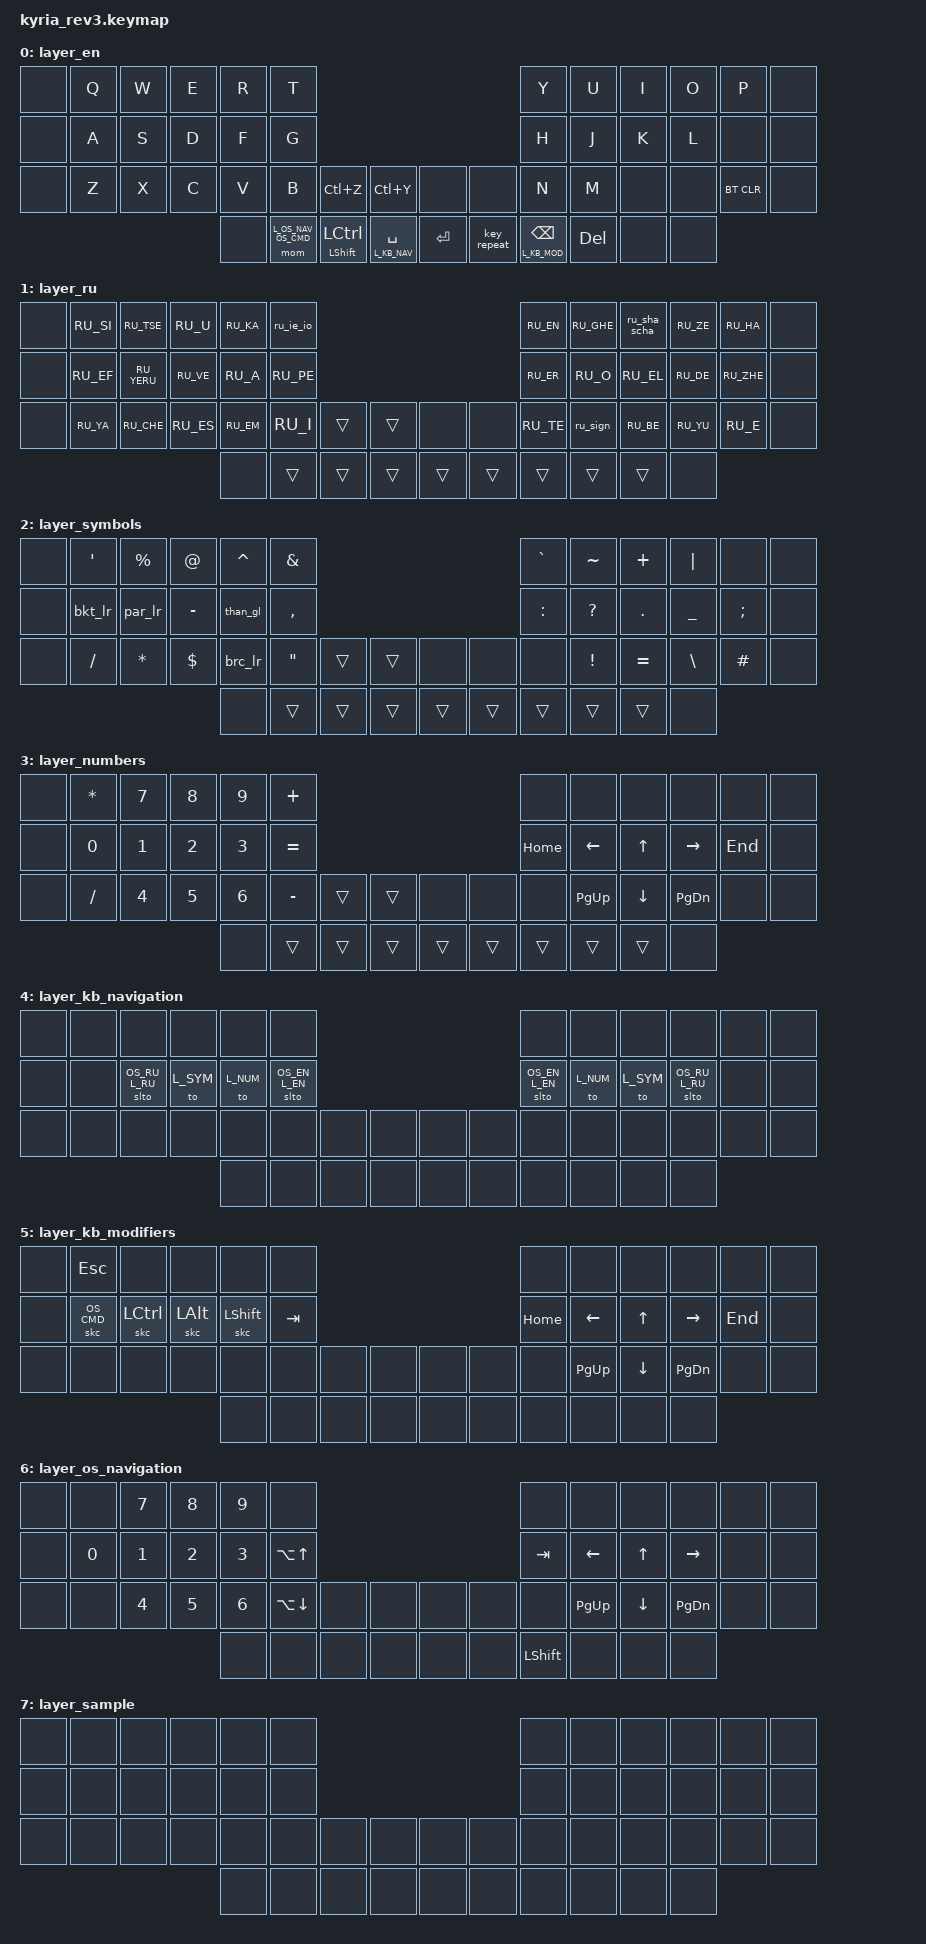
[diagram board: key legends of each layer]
#include <behaviors.dtsi>
#include <dt-bindings/zmk/keys.h>
#include <dt-bindings/zmk/bt.h>
#include "keys_ru.h"

// KB
#define ___ &trans
#define XXX &none

// OS Hotkeys

// KbGUI (Windows / Command / Meta)
#define OS_CMD LGUI
#define OS_MOD(keycode) LG(keycode)

#define OS_EN OS_MOD(LA(N1))
#define OS_RU OS_MOD(LA(N2))
#define OS_NEXT_LANG OS_MOD(SPACE)

#define OS_KB_EN &kp OS_EN
#define OS_KB_RU &kp OS_RU

// Layer Alias
#define L_EN 0
#define L_RU 1
#define L_SYM 2
#define L_NUM 3
#define L_KB_NAV 4
#define L_KB_MOD 5
#define L_OS_NAV 6

// Macros

#define CHARS_EN &slto OS_EN L_EN
#define CHARS_RU &slto OS_RU L_RU
#define SYMBOLS &to L_SYM
#define NUMBERS &to L_NUM

#define SPACE_KB_NAV &hmot L_KB_NAV SPACE
#define BSPC_KB_MOD &hmot L_KB_MOD BACKSPACE

#define OS_NAV_CMD &mom L_OS_NAV OS_CMD

#define CHAIN_CTRL &skc LCTRL
#define CHAIN_SHIFT &skc LSHIFT
#define CHAIN_ALT &skc LALT
#define CHAIN_CMD &skc OS_CMD

#define CTRL_OR_SHIFT &hst LSHIFT LCTRL

#define KB_UNDO LC(Z)
#define KB_REDO LC(Y)

#define COMBO_GLOBAL(NAME, BINDINGS, KEYPOS) \
  combo_##NAME { \
    timeout-ms = <64>; \
    bindings = <BINDINGS>; \
    key-positions = <KEYPOS>; \
};

#define COMBO(NAME, BINDINGS, KEYPOS, LAYERS) \
  combo_##NAME { \
    timeout-ms = <64>; \
    bindings = <BINDINGS>; \
    key-positions = <KEYPOS>; \
    layers = <LAYERS>; \
};

/ {
    behaviors {
        /**
        * A sticky key stays pressed until another key is pressed.
        */
        skc: sticky_key_chain {
            compatible = "zmk,behavior-sticky-key";
            #binding-cells = <1>;
            bindings = <&kp>;
            release-after-ms = <1500>;
            ignore-modifiers;
        };

        /**
        * A sticky key stays pressed until another key is pressed.
        * No the ability to chain modifiers (reason: quick-release)
        */
        skq: sticky_key_quick_release {
            compatible = "zmk,behavior-sticky-key";
            #binding-cells = <1>;
            bindings = <&kp>;
            release-after-ms = <1500>;
            quick-release;
            ignore-modifiers;
        };

		/**
        * tap: triggers `sticky_key_quick_release`
        * hold: triggers a <&kp> behavior
        * Example:
        *   `CTRL_OR_SHIFT`
        */
        hst: hold_sticky_tap_quick_release {
            compatible = "zmk,behavior-hold-tap";
            #binding-cells = <2>;
            tapping-term-ms = <300>;
            quick-tap-ms = <0>;
            flavor = "tap-preferred";
            bindings = <&kp>, <&skq>;
        };

		/**
        * tap: triggers a <&kp> behavior
        * hold: triggers momentary layer behavior
        */
        hmot: hold_momentary_layer_tap {
            compatible = "zmk,behavior-hold-tap";
            #binding-cells = <2>;
            tapping-term-ms = <250>;
            quick-tap-ms = <0>;
            flavor = "tap-preferred";
            bindings = <&mo>, <&kp>;
        };

        /**
        * tap:        ь
        * double-tap: ъ
        */
        ru_sign: ru_sign_double_tap {
            compatible = "zmk,behavior-tap-dance";
            label = "RU_SOFT_OR_HARD_SIGN";
            #binding-cells = <0>;
            tapping-term-ms = <100>; // duration.short2
            bindings = <&kp RU_SSIGN>, <&kp RU_HSIGN>;
        };

        /**
        * tap:        е
        * double-tap: ё
        */
        ru_ie_io: ru_ie_double_tap {
            compatible = "zmk,behavior-tap-dance";
            label = "RU_IE_OR_IO";
            #binding-cells = <0>;
            tapping-term-ms = <100>; // duration.short2
            bindings = <&kp RU_IE>, <&kp RU_IO>;
        };

        /**
        * tap:        ш
        * double-tap: щ
        */
        ru_sha_scha: ru_sha_double_tap {
            compatible = "zmk,behavior-tap-dance";
            label = "RU_SHA_OR_SHCHA";
            #binding-cells = <0>;
            tapping-term-ms = <100>; // duration.short2
            bindings = <&kp RU_SHA>, <&kp RU_SHCHA>;
        };

        /**
        * tap:        (
        * double-tap: )
        */
        par_lr: parenthesis_left_right {
            compatible = "zmk,behavior-tap-dance";
            label = "parenthesis_left_right";
            #binding-cells = <0>;
            tapping-term-ms = <100>; // duration.short2
            bindings = <&kp LPAR>, <&kp RPAR>;
        };

       /**
        * tap:        [
        * double-tap: ]
        */
        bkt_lr: bracket_left_right {
            compatible = "zmk,behavior-tap-dance";
            label = "bracket_left_right";
            #binding-cells = <0>;
            tapping-term-ms = <100>; // duration.short2
            bindings = <&kp LBKT>, <&kp RBKT>;
        };

       /**
        * tap:        {
        * double-tap: }
        */
        brc_lr: brace_left_right {
            compatible = "zmk,behavior-tap-dance";
            label = "brace_left_right";
            #binding-cells = <0>;
            tapping-term-ms = <100>; // duration.short2
            bindings = <&kp LBRC>, <&kp RBRC>;
        };

       /**
        * tap:        >
        * double-tap: <
        */
        than_gl: greater_or_less_than {
            compatible = "zmk,behavior-tap-dance";
            label = "brace_left_right";
            #binding-cells = <0>;
            tapping-term-ms = <100>; // duration.short2
            bindings = <&kp GT>, <&kp LT>;
        };
    };

    macros {
        /**
        * Params:
        *  1. OS Language alias
        *  2. KB Layer alias
        *
        * Example:
        *  &slto OS_EN L_EN
        */
        slto: select_lang_and_go_to_layer {
            label = "SYNC_LANG_AND_LAYER";
            compatible = "zmk,behavior-macro-two-param";
            wait-ms = <32>;
            tap-ms = <32>;
            #binding-cells = <2>;
            bindings
                = 
                <&macro_param_1to1>,
                <&macro_tap &kp MACRO_PLACEHOLDER>,
                <&macro_wait_time 32>,
                <&macro_param_2to1>,
                <&macro_tap &to MACRO_PLACEHOLDER>
                ;
        };

		/**
		 * Temporarily switches to a layer (&mo) while a modifier is held
		 *
		 * Params:
		 *  1. Layer to switch to
		 *  2. Modifier to press while layer is active
		 *
		 * Example:
		 *  &mom NUM_LAYER LSHIFT
		 */
        mom: momentary_layer_with_modifier {
            compatible = "zmk,behavior-macro-two-param";
            wait-ms = <0>;
            tap-ms = <0>;
            #binding-cells = <2>;
            bindings
                = <&macro_param_1to1>
                , <&macro_press &mo MACRO_PLACEHOLDER>
                , <&macro_param_2to1>
                , <&macro_press &kp MACRO_PLACEHOLDER>
                , <&macro_pause_for_release>
                , <&macro_param_2to1>
                , <&macro_release &kp MACRO_PLACEHOLDER>
                , <&macro_param_1to1>
                , <&macro_release &mo MACRO_PLACEHOLDER>
                ;
        };
    };

    /*                            KEY POSITIONS
    ╭────────────────────────╮                 ╭────────────────────────╮
    │  0   1   2   3   4   5 │                 │  6   7   8   9  10  11 │
    │ 12  13  14  15  16  17 ╰───────╮ ╭───────╯ 18  19  20  21  22  23 │
    │ 24  25  26  27  28  29  30  31 │ │ 32  33  34  35  36  37  38  39 │
    ╰───────────╮ 40  41  42  43  44 │ │ 45  46  47  48  49 ╭───────────╯
                ╰────────────────────╯ ╰────────────────────╯            */

    combos {
        compatible = "zmk,combos";

        COMBO(excl, &kp EXCL, 19 20, L_EN L_RU)

        COMBO(qmark_en, &kp QMARK, 15 16, L_EN)
        COMBO(qmark_ru, &kp AMPS, 15 16, L_RU)

        COMBO(colon_en, &kp COLON, 16 17, L_EN)
        COMBO(colon_ru, &kp CARET, 16 17, L_RU)

        COMBO(semicolon_en, &kp SEMI, 18 19, L_EN)
        COMBO(semicolon_ru, &kp DOLLAR, 18 19, L_RU)

        COMBO(dot_en, &kp DOT, 16 19, L_EN)
        COMBO(dot_ru, &kp FSLH, 16 19, L_RU)

        COMBO(comma_en, &kp COMMA, 15 20, L_EN)
        COMBO(comma_ru, &kp QMARK, 15 20, L_RU)

        COMBO(double_quotes_en, &kp DQT, 17 18, L_EN)
        COMBO(double_quotes_ru, &kp AT_SIGN, 17 18, L_RU)
    };

    keymap {
        compatible = "zmk,keymap";

        layer_en {
            bindings = <
                // ╭───┬─────────────┬─────────────┬─────────────┬─────────────┬─────────────╮                                                           ╭─────────────┬─────────────┬─────────────┬─────────────┬─────────────┬───╮
                    XXX &kp Q         &kp W         &kp E         &kp R         &kp T                                                                     &kp Y         &kp U         &kp I         &kp O         &kp P         XXX  
                // ├───┼─────────────┼─────────────┼─────────────┼─────────────┼─────────────┤                                                           ├─────────────┼─────────────┼─────────────┼─────────────┼─────────────┼───┤
                    XXX &kp A         &kp S         &kp D         &kp F         &kp G                                                                     &kp H         &kp J         &kp K         &kp L         XXX           XXX  
                // ├───┼─────────────┼─────────────┼─────────────┼─────────────┼─────────────┤─────────────┬─────────────╮   ╭─────────────┬─────────────├─────────────┼─────────────┼─────────────┼─────────────┼─────────────┼───┤
                    XXX &kp Z         &kp X         &kp C         &kp V         &kp B         &kp KB_UNDO   &kp KB_REDO       XXX           XXX           &kp N         &kp M         XXX           XXX           &bt BT_CLR    XXX  
                // ╰───┴─────────────┴─────────────┴─────────────┼─────────────┼─────────────┤─────────────┼─────────────┤   ├─────────────┼─────────────├─────────────┼─────────────┼─────────────┴─────────────┴─────────────┴───╯
                                                              XXX OS_NAV_CMD    CTRL_OR_SHIFT SPACE_KB_NAV  &kp ENTER         &key_repeat   BSPC_KB_MOD   &kp DEL       XXX           XXX
                //                                           ╰───┴─────────────┴─────────────┴─────────────┴─────────────╯   ╰─────────────┴─────────────┴─────────────┴─────────────┴───╯
            >;
        };

        layer_ru {
            bindings = <
                // ╭───┬─────────────┬─────────────┬─────────────┬─────────────┬─────────────╮                                                           ╭─────────────┬─────────────┬─────────────┬─────────────┬─────────────┬───╮
                    XXX &kp RU_SI     &kp RU_TSE    &kp RU_U      &kp RU_KA     &ru_ie_io                                                                 &kp RU_EN     &kp RU_GHE    &ru_sha_scha  &kp RU_ZE     &kp RU_HA     XXX  
                // ├───┼─────────────┼─────────────┼─────────────┼─────────────┼─────────────┤                                                           ├─────────────┼─────────────┼─────────────┼─────────────┼─────────────┼───┤
                    XXX &kp RU_EF     &kp RU_YERU   &kp RU_VE     &kp RU_A      &kp RU_PE                                                                 &kp RU_ER     &kp RU_O      &kp RU_EL     &kp RU_DE     &kp RU_ZHE    XXX  
                // ├───┼─────────────┼─────────────┼─────────────┼─────────────┼─────────────┤─────────────┬─────────────╮   ╭─────────────┬─────────────├─────────────┼─────────────┼─────────────┼─────────────┼─────────────┼───┤
                    XXX &kp RU_YA     &kp RU_CHE    &kp RU_ES     &kp RU_EM     &kp RU_I      ___           ___               XXX           XXX           &kp RU_TE     &ru_sign      &kp RU_BE     &kp RU_YU     &kp RU_E      XXX  
                // ╰───┴─────────────┴─────────────┴─────────────┼─────────────┼─────────────┤─────────────┼─────────────┤   ├─────────────┼─────────────├─────────────┼─────────────┼─────────────┴─────────────┴─────────────┴───╯
                                                              XXX ___           ___           ___           ___               ___           ___           ___           ___           XXX
                //                                           ╰───┴─────────────┴─────────────┴─────────────┴─────────────╯   ╰─────────────┴─────────────┴─────────────┴─────────────┴───╯
            >;
        };

        layer_symbols {
            bindings = <
                // ╭───┬─────────────┬─────────────┬─────────────┬─────────────┬─────────────╮                                                           ╭─────────────┬─────────────┬─────────────┬─────────────┬─────────────┬───╮
                    XXX &kp APOS      &kp PRCNT     &kp AT_SIGN   &kp CARET     &kp AMPS                                                                  &kp GRAVE     &kp TILDE     &kp PLUS      &kp PIPE      XXX           XXX
                // ├───┼─────────────┼─────────────┼─────────────┼─────────────┼─────────────┤                                                           ├─────────────┼─────────────┼─────────────┼─────────────┼─────────────┼───┤
                    XXX &bkt_lr       &par_lr       &kp MINUS     &than_gl      &kp COMMA                                                                 &kp COLON     &kp QMARK     &kp DOT       &kp UNDER     &kp SEMI      XXX  
                // ├───┼─────────────┼─────────────┼─────────────┼─────────────┼─────────────┤─────────────┬─────────────╮   ╭─────────────┬─────────────├─────────────┼─────────────┼─────────────┼─────────────┼─────────────┼───┤
                    XXX &kp FSLH      &kp STAR      &kp DLLR      &brc_lr       &kp DQT       ___           ___               XXX           XXX           XXX           &kp EXCL      &kp EQUAL     &kp BSLH      &kp HASH      XXX  
                // ╰───┴─────────────┴─────────────┴─────────────┼─────────────┼─────────────┤─────────────┼─────────────┤   ├─────────────┼─────────────├─────────────┼─────────────┼─────────────┴─────────────┴─────────────┴───╯
                                                              XXX ___           ___           ___           ___               ___           ___           ___           ___           XXX
                //                                           ╰───┴─────────────┴─────────────┴─────────────┴─────────────╯   ╰─────────────┴─────────────┴─────────────┴─────────────┴───╯
            >;
        };

        layer_numbers {
            bindings = <
                // ╭───┬─────────────┬─────────────┬─────────────┬─────────────┬─────────────╮                                                           ╭─────────────┬─────────────┬─────────────┬─────────────┬─────────────┬───╮
                    XXX &kp STAR      &kp N7        &kp N8        &kp N9        &kp PLUS                                                                  XXX           XXX           XXX           XXX           XXX           XXX  
                // ├───┼─────────────┼─────────────┼─────────────┼─────────────┼─────────────┤                                                           ├─────────────┼─────────────┼─────────────┼─────────────┼─────────────┼───┤
                    XXX &kp N0        &kp N1        &kp N2        &kp N3        &kp EQUAL                                                                 &kp HOME      &kp LEFT      &kp UP        &kp RIGHT     &kp END       XXX  
                // ├───┼─────────────┼─────────────┼─────────────┼─────────────┼─────────────┤─────────────┬─────────────╮   ╭─────────────┬─────────────├─────────────┼─────────────┼─────────────┼─────────────┼─────────────┼───┤
                    XXX &kp FSLH      &kp N4        &kp N5        &kp N6        &kp MINUS     ___           ___               XXX           XXX           XXX           &kp PG_UP     &kp DOWN      &kp PG_DN     XXX           XXX  
                // ╰───┴─────────────┴─────────────┴─────────────┼─────────────┼─────────────┤─────────────┼─────────────┤   ├─────────────┼─────────────├─────────────┼─────────────┼─────────────┴─────────────┴─────────────┴───╯
                                                              XXX ___           ___           ___           ___               ___           ___           ___           ___           XXX
                //                                           ╰───┴─────────────┴─────────────┴─────────────┴─────────────╯   ╰─────────────┴─────────────┴─────────────┴─────────────┴───╯
            >;
        };

       layer_kb_navigation {
            bindings = <
                // ╭───┬─────────────┬─────────────┬─────────────┬─────────────┬─────────────╮                                                           ╭─────────────┬─────────────┬─────────────┬─────────────┬─────────────┬───╮
                    XXX XXX           XXX           XXX           XXX           XXX                                                                       XXX           XXX           XXX           XXX           XXX           XXX  
                // ├───┼─────────────┼─────────────┼─────────────┼─────────────┼─────────────┤                                                           ├─────────────┼─────────────┼─────────────┼─────────────┼─────────────┼───┤
                    XXX XXX           CHARS_RU      SYMBOLS       NUMBERS       CHARS_EN                                                                  CHARS_EN      NUMBERS       SYMBOLS       CHARS_RU       XXX          XXX  
                // ├───┼─────────────┼─────────────┼─────────────┼─────────────┼─────────────┤─────────────┬─────────────╮   ╭─────────────┬─────────────├─────────────┼─────────────┼─────────────┼─────────────┼─────────────┼───┤
                    XXX XXX           XXX           XXX           XXX           XXX           XXX           XXX               XXX           XXX           XXX           XXX           XXX           XXX           XXX           XXX  
                // ╰───┴─────────────┴─────────────┴─────────────┼─────────────┼─────────────┤─────────────┼─────────────┤   ├─────────────┼─────────────├─────────────┼─────────────┼─────────────┴─────────────┴─────────────┴───╯
                                                              XXX XXX           XXX           XXX           XXX               XXX           XXX           XXX           XXX           XXX
                //                                           ╰───┴─────────────┴─────────────┴─────────────┴─────────────╯   ╰─────────────┴─────────────┴─────────────┴─────────────┴───╯
            >;
        };

        layer_kb_modifiers {
            bindings = <
                // ╭───┬─────────────┬─────────────┬─────────────┬─────────────┬─────────────╮                                                           ╭─────────────┬─────────────┬─────────────┬─────────────┬─────────────┬───╮
                    XXX &kp ESC       XXX           XXX           XXX           XXX                                                                       XXX           XXX           XXX           XXX           XXX           XXX  
                // ├───┼─────────────┼─────────────┼─────────────┼─────────────┼─────────────┤                                                           ├─────────────┼─────────────┼─────────────┼─────────────┼─────────────┼───┤
                    XXX CHAIN_CMD     CHAIN_CTRL    CHAIN_ALT     CHAIN_SHIFT   &kp TAB                                                                   &kp HOME      &kp LEFT      &kp UP        &kp RIGHT     &kp END       XXX  
                // ├───┼─────────────┼─────────────┼─────────────┼─────────────┼─────────────┤─────────────┬─────────────╮   ╭─────────────┬─────────────├─────────────┼─────────────┼─────────────┼─────────────┼─────────────┼───┤
                    XXX XXX           XXX           XXX           XXX           XXX           XXX           XXX               XXX           XXX           XXX           &kp PG_UP     &kp DOWN      &kp PG_DN     XXX           XXX  
                // ╰───┴─────────────┴─────────────┴─────────────┼─────────────┼─────────────┤─────────────┼─────────────┤   ├─────────────┼─────────────├─────────────┼─────────────┼─────────────┴─────────────┴─────────────┴───╯
                                                              XXX XXX           XXX           XXX           XXX               XXX           XXX           XXX           XXX           XXX
                //                                           ╰───┴─────────────┴─────────────┴─────────────┴─────────────╯   ╰─────────────┴─────────────┴─────────────┴─────────────┴───╯
            >;
        };

        layer_os_navigation {
            bindings = <
                // ╭───┬─────────────┬─────────────┬─────────────┬─────────────┬─────────────╮                                                           ╭─────────────┬─────────────┬─────────────┬─────────────┬─────────────┬───╮
                    XXX XXX           &kp N7        &kp N8        &kp N9        XXX                                                                       XXX           XXX           XXX           XXX           XXX           XXX  
                // ├───┼─────────────┼─────────────┼─────────────┼─────────────┼─────────────┤                                                           ├─────────────┼─────────────┼─────────────┼─────────────┼─────────────┼───┤
                    XXX &kp N0        &kp N1        &kp N2        &kp N3        &kp LA(UP)                                                                &kp TAB       &kp LEFT      &kp UP        &kp RIGHT     XXX           XXX  
                // ├───┼─────────────┼─────────────┼─────────────┼─────────────┼─────────────┤─────────────┬─────────────╮   ╭─────────────┬─────────────├─────────────┼─────────────┼─────────────┼─────────────┼─────────────┼───┤
                    XXX XXX           &kp N4        &kp N5        &kp N6        &kp LA(DOWN)  XXX           XXX               XXX           XXX           XXX           &kp PG_UP     &kp DOWN      &kp PG_DN     XXX           XXX  
                // ╰───┴─────────────┴─────────────┴─────────────┼─────────────┼─────────────┤─────────────┼─────────────┤   ├─────────────┼─────────────├─────────────┼─────────────┼─────────────┴─────────────┴─────────────┴───╯
                                                              XXX XXX           XXX           XXX           XXX               XXX           &kp LSHIFT    XXX           XXX           XXX
                //                                           ╰───┴─────────────┴─────────────┴─────────────┴─────────────╯   ╰─────────────┴─────────────┴─────────────┴─────────────┴───╯
            >;
        };

        layer_sample {
            bindings = <
                // ╭───┬─────────────┬─────────────┬─────────────┬─────────────┬─────────────╮                                                           ╭─────────────┬─────────────┬─────────────┬─────────────┬─────────────┬───╮
                    XXX XXX           XXX           XXX           XXX           XXX                                                                       XXX           XXX           XXX           XXX           XXX           XXX  
                // ├───┼─────────────┼─────────────┼─────────────┼─────────────┼─────────────┤                                                           ├─────────────┼─────────────┼─────────────┼─────────────┼─────────────┼───┤
                    XXX XXX           XXX           XXX           XXX           XXX                                                                       XXX           XXX           XXX           XXX           XXX           XXX  
                // ├───┼─────────────┼─────────────┼─────────────┼─────────────┼─────────────┤─────────────┬─────────────╮   ╭─────────────┬─────────────├─────────────┼─────────────┼─────────────┼─────────────┼─────────────┼───┤
                    XXX XXX           XXX           XXX           XXX           XXX           XXX           XXX               XXX           XXX           XXX           XXX           XXX           XXX           XXX           XXX  
                // ╰───┴─────────────┴─────────────┴─────────────┼─────────────┼─────────────┤─────────────┼─────────────┤   ├─────────────┼─────────────├─────────────┼─────────────┼─────────────┴─────────────┴─────────────┴───╯
                                                              XXX XXX           XXX           XXX           XXX               XXX           XXX           XXX           XXX           XXX
                //                                           ╰───┴─────────────┴─────────────┴─────────────┴─────────────╯   ╰─────────────┴─────────────┴─────────────┴─────────────┴───╯
            >;
        };

/*



        layer_games_qwerty {
             bindings = <
             &kp ESC   &kp N1    &kp N2 &kp N3 &kp N4 &kp N5                                  &kp N6 &kp N7         &kp N8         &kp N9          &kp N0 &kp BSPC
             &kp TAB   XXX       &kp Q  &kp W  &kp E  &kp R                                   &kp T  &kp Y          &kp UP_ARROW   &kp I           &kp O  &kp RET
             &kp GRAVE &kp LSHFT &kp A  &kp S  &kp D  &kp F &kp G     &kp H       &kp J &kp K &kp L  &kp LEFT_ARROW &kp DOWN_ARROW &kp RIGHT_ARROW &kp P  &to 0
                                        &kp Z  &kp X  &kp C &kp LCTRL &kp SPACE   &kp V &kp B &kp N  &kp M          XXX
             >;
        };
*/
    };
};

/*
-----

~_



`'@+^
[(->,
\#${"

];&%|
:?.)]
<!=/*

-----
*/

